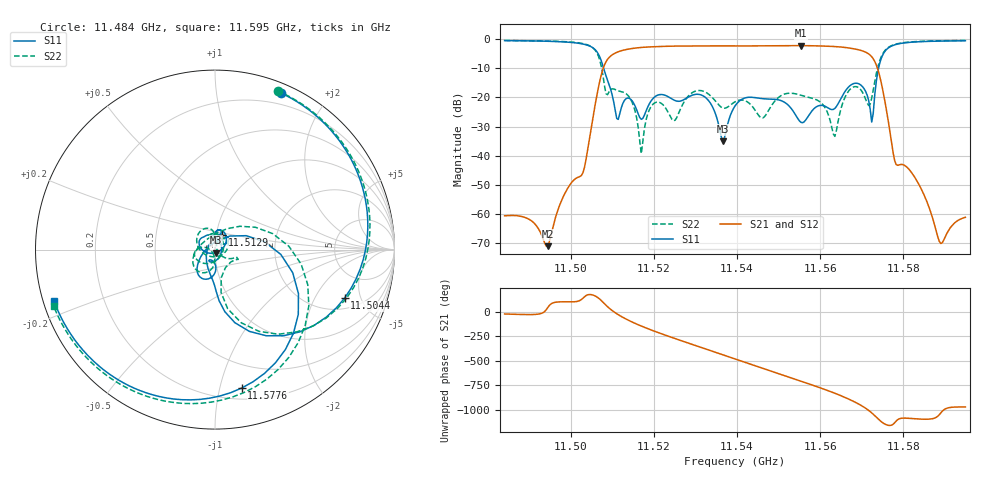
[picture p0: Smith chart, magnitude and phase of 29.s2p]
! Created with skrf 1.8.0 (http://scikit-rf.org).
# Hz S RI R 50.0
!freq ReS11 ImS11 ReS21 ImS21 ReS12 ImS12 ReS22 ImS22
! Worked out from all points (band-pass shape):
!   301 points, 11.484 GHz to 11.595 GHz, reference 50 ohm
!   highest |S21| = -2.20 dB at 11.5554 GHz (marker M1); lowest = -71.0 dB at 11.4944 GHz (marker M2)
!   |S21| within 3 dB of the highest: 11.5101 GHz to 11.5718 GHz (61.74 MHz wide, 0.535 % of centre)
!   lowest |S11| = -35.0 dB at 11.5365 GHz (marker M3), VSWR 1.04, Z = 50.7 - j1.64 ohm
!   |S11| at or under -10 dB: 11.5079 GHz to 11.5741 GHz (66.21 MHz wide, 0.574 % of centre)
!   |S22| runs from -39.3 to -0.4 dB; largest |S21 - S12| = 0.011
!   S11 on the Smith chart (normalised r, x): 11.484 GHz: 0.09, +1.50; 11.5044 GHz: 2.70, -3.60; 11.5129 GHz: 1.07, +0.17; 11.5776 GHz: 0.29, -1.17; 11.595 GHz: 0.03, -0.16
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1.1484e10  0.366 0.8727  0.000848 -0.000387  0.000842 -0.000364  0.349 0.8845
1.149436e10  0.6766 0.6281  0.000218 0.000177  0.000212 0.000181  0.6716 0.6438
1.15025e10  0.8373 -0.00773  -0.0025 0.00385  -0.00257 0.00386  0.8518 0.00283
1.150435e10  0.722 -0.2702  -0.0181 0.00201  -0.0183 0.00193  0.7325 -0.2707
1.150879e10  -0.00297 -0.1981  0.2912 0.3438  0.2929 0.3446  0.088 -0.0691
1.151101e10  -0.0437 -0.00238  0.5527 -0.2218  0.5542 -0.2254  0.1242 -0.0482
1.151286e10  0.0386 0.0802  0.2506 -0.6056  0.2479 -0.6089  0.1127 -0.0435
1.151693e10  0.023 0.0354  -0.6102 -0.3872  -0.6118 -0.3816  0.0104 0.00319
1.1521e10  0.0174 0.1092  -0.6177 0.4224  -0.6148 0.424  0.068 0.0482
1.152988e10  0.0253 0.11  0.7376 0.2024  0.7312 0.1948  -0.0925 0.0884
1.153654e10  0.00734 -0.0162  0.1291 -0.7585  0.1263 -0.7556  -0.0147 0.0645
1.15395e10  -0.0715 -0.00081  -0.4203 -0.6416  -0.4207 -0.6362  -0.0328 0.0776
1.154875e10  -0.0535 0.0767  -0.1889 0.7486  -0.1811 0.749  -0.0278 -0.0759
1.155541e10  0.037 0.00545  0.7644 0.1359  0.7565 0.1315  -0.109 -0.0067
1.1558e10  0.00904 -0.0578  0.6862 -0.3557  0.6806 -0.3541  -0.0973 0.00282
1.156355e10  -0.0117 -0.0639  -0.2904 -0.6898  -0.2907 -0.6851  -0.0155 -0.0149
1.156651e10  -0.00746 -0.1417  -0.6908 -0.1843  -0.6888 -0.1824  -0.0267 -0.1153
1.157243e10  -0.0326 0.0193  0.3412 0.3675  0.3389 0.3664  0.0174 0.096
1.15765e10  0.3369 -0.6306  0.00608 -0.0359  0.00615 -0.0366  0.4111 -0.6008
1.157761e10  0.1486 -0.7715  0.00405 -0.0103  0.00403 -0.0105  0.2238 -0.7646
1.158908e10  -0.7847 -0.4984  0.000212 0.000229  0.000216 0.000221  -0.7776 -0.53
1.1595e10  -0.8969 -0.2867  -0.000259 0.000839  -0.000234 0.000837  -0.8991 -0.3143
